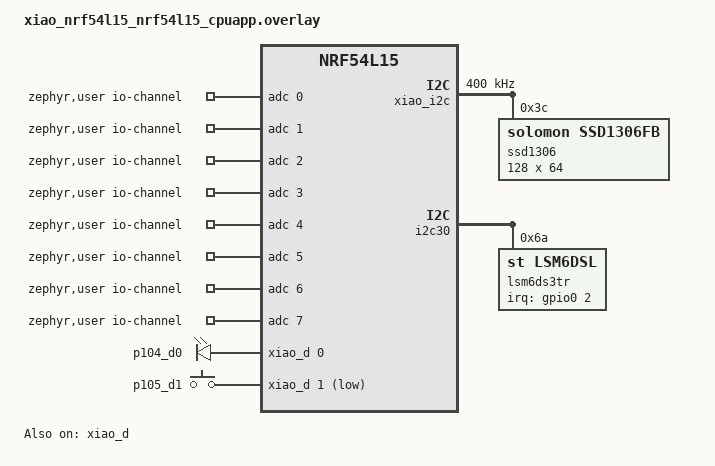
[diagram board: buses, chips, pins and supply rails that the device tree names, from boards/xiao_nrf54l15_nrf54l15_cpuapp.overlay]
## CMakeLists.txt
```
# SPDX-License-Identifier: Apache-2.0

cmake_minimum_required(VERSION 3.13.1)
find_package(Zephyr REQUIRED HINTS $ENV{ZEPHYR_BASE})
project(attitude_monitor)

target_sources(app
  PRIVATE
    src/main.cpp
)
```

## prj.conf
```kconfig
CONFIG_I2C=y
CONFIG_GPIO=y
CONFIG_ADC=y
CONFIG_ADC_ASYNC=y
CONFIG_SENSOR=y
CONFIG_LSM6DSL=y
CONFIG_NEWLIB_LIBC=y
CONFIG_NEWLIB_LIBC_FLOAT_PRINTF=y

CONFIG_MAIN_STACK_SIZE=4096
CONFIG_HEAP_MEM_POOL_SIZE=16384

# Display Configuration
CONFIG_DISPLAY=y

# LVGL Configuration
CONFIG_LVGL=y
CONFIG_LV_Z_MEM_POOL_SIZE=16384
CONFIG_LV_Z_VDB_SIZE=64

# CMSIS-DSP for quaternion math and sensor fusion
CONFIG_CMSIS_DSP=y
CONFIG_CMSIS_DSP_QUATERNIONMATH=y

# Logging and Console
CONFIG_LOG=y
CONFIG_SERIAL=y
CONFIG_CONSOLE=y
CONFIG_UART_CONSOLE=y
CONFIG_LOG_MODE_IMMEDIATE=y
CONFIG_LOG_DEFAULT_LEVEL=3
```

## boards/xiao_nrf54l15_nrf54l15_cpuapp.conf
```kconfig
CONFIG_PM_DEVICE=y
CONFIG_HW_STACK_PROTECTION=y
CONFIG_NRFX_GPIOTE_NUM_OF_EVT_HANDLERS=1
CONFIG_NRFX_POWER=y
CONFIG_ARM_MPU=y
CONFIG_REGULATOR_FIXED_INIT_PRIORITY=45

CONFIG_I2C=y
CONFIG_GPIO=y
CONFIG_ADC=y
CONFIG_ADC_ASYNC=y
CONFIG_SENSOR=y
CONFIG_NEWLIB_LIBC=y
CONFIG_NEWLIB_LIBC_FLOAT_PRINTF=y

# Logging configuration
CONFIG_LOG=y
CONFIG_LOG_MODE_IMMEDIATE=y

# I2C debugging (optional but helpful)
CONFIG_I2C_LOG_LEVEL_DBG=y
```

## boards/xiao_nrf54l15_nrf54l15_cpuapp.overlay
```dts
/ {
    zephyr,user {
		io-channels = <&adc 0>, <&adc 1>, <&adc 2>, <&adc 3>,
			<&adc 4>, <&adc 5>, <&adc 6>, <&adc 7>;
	};

    o_ports {
		compatible = "gpio-leds";

		p104_d0: p104_d0 {
			gpios = <&xiao_d 0 GPIO_ACTIVE_HIGH>;
		};
	};

	i_port {
		compatible = "gpio-keys";

		p105_d1: p105_d1 {
			gpios = <&xiao_d 1 (GPIO_PULL_UP | GPIO_ACTIVE_LOW)>;
			zephyr,code = <INPUT_KEY_ENTER>;
		};
	};

    aliases {
		p104d0 = &p104_d0;
		p105d1 = &p105_d1;
    };

	chosen {
		zephyr,display = &ssd1306;
	};
};

&xiao_i2c {
    clock-frequency = <400000>;
    status = "okay";
    zephyr,concat-buf-size = <1024>;
    zephyr,flash-buf-max-size = <1024>;

	ssd1306: ssd1306@3c {
		compatible = "solomon,ssd1306fb";
		reg = <0x3c>;
		width = <128>;
		height = <64>;
		segment-offset = <0>;
		page-offset = <0>;
		display-offset = <0>;
		multiplex-ratio = <63>;
		segment-remap;
		com-invdir;
		prechargep = <0x22>;
	};
};

&i2c30 {
	lsm6ds3tr: lsm6dsl@6a {
		compatible = "st,lsm6dsl";
		reg = <0x6a>;
		irq-gpios = <&gpio0 2 GPIO_ACTIVE_HIGH>;
		status = "okay";
	};
};

&xiao_d {
	status = "okay";
};

/ {
	aliases {
		accel0 = &lsm6ds3tr;
	};
};
```

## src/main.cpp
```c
#include <stddef.h>
#include <stdint.h>
#include <inttypes.h>
#include <stdio.h>
#include <string.h>

#include <zephyr/kernel.h>
#include <zephyr/device.h>
#include <zephyr/drivers/sensor.h>
#include <zephyr/drivers/regulator.h>
#include <zephyr/drivers/adc.h>
#include <zephyr/drivers/gpio.h>
#include <zephyr/drivers/display.h>
#include <zephyr/devicetree.h>
#include <nrfx_power.h>

#include <lvgl.h>

#include "madgwick_cmsis.h"   // CMSIS-DSP based Madgwick filter

#include <zephyr/logging/log.h>

LOG_MODULE_REGISTER(main_app, CONFIG_LOG_DEFAULT_LEVEL);

// *****************************************************************************************************
// Ports structures
// *****************************************************************************************************
static const struct gpio_dt_spec led_builtin = GPIO_DT_SPEC_GET(DT_ALIAS(led0), gpios);
static const struct gpio_dt_spec usrbtn = GPIO_DT_SPEC_GET(DT_ALIAS(sw0), gpios);
static const struct gpio_dt_spec test0 = GPIO_DT_SPEC_GET(DT_ALIAS(p104d0), gpios);
static const struct gpio_dt_spec selsw = GPIO_DT_SPEC_GET(DT_ALIAS(p105d1), gpios);

// ****************************************************************************************************
// ADC definition and structures
// ****************************************************************************************************
#define DT_SPEC_AND_COMMA(node_id, prop, idx) ADC_DT_SPEC_GET_BY_IDX(node_id, idx),

// Data of ADC io-channels specified in devicetree.
static const struct adc_dt_spec adc_channels[] = {
	DT_FOREACH_PROP_ELEM(DT_PATH(zephyr_user), io_channels, DT_SPEC_AND_COMMA)};

static const struct device *const vbat_reg = DEVICE_DT_GET(DT_NODELABEL(vbat_pwr));

// ***************************************************************************************************
// IMU LSM6DSO sensor device
// ****************************************************************************************************
const struct device *const imu_dev = DEVICE_DT_GET(DT_ALIAS(accel0));

// *************************************************************************************************
// LVGL Display Objects
// *************************************************************************************************
static lv_obj_t *label_line1;
static lv_obj_t *label_line2;
static lv_obj_t *label_line3;
static lv_obj_t *label_line4;


// ***************************************************************************************
// ************************************** Main function **********************************
// ***************************************************************************************
int main(void)
{
    int ret;
	int err;

    // ------------------------------------------------------------------------------
    //                                      GPIO setup
    // ------------------------------------------------------------------------------
    if(!gpio_is_ready_dt(&led_builtin) || !gpio_is_ready_dt(&usrbtn)
                                       || !gpio_is_ready_dt(&test0)
                                       || !gpio_is_ready_dt(&selsw)) {
        LOG_ERR("Some Ports are not ready!\n");
        return 0;
    }

    err = gpio_pin_configure_dt(&led_builtin, GPIO_OUTPUT_ACTIVE);
	if (err < 0) {
        LOG_ERR("Could not setup led_builtin (%d)\n", err);
		return err;
	}
    err = gpio_pin_configure_dt(&usrbtn, GPIO_INPUT);
    if (err < 0) {
        LOG_ERR("Could not setup usrbtn (%d)\n", err);
		return err;
    }
    err = gpio_pin_configure_dt(&test0, GPIO_OUTPUT_ACTIVE);
	if (err < 0) {
        LOG_ERR("Could not setup test0 (%d)\n", err);
		return err;
	}
    err = gpio_pin_configure_dt(&selsw, GPIO_INPUT);
    if (err < 0) {
        LOG_ERR("Could not setup selsw (%d)\n", err);
		return err;
    }
    
    LOG_INF("Ports initialized successfully\n");

    // -------------------------------------------------------------------------------
    //                                   Vbat read adc setup
    // ------------------------------------------------------------------------------
	uint16_t buf;
	int32_t val_mv;
	struct adc_sequence sequence = {
		.buffer = &buf,
		.buffer_size = sizeof(buf),
	};

//	printk("vbat enable\n");
	regulator_enable(vbat_reg);	// P1.15/VBAT_EN = HIGH
	k_msleep(100);
    LOG_INF("Vbat Read enable\n");

	// Configure channels individually prior to sampling.
	if (!adc_is_ready_dt(&adc_channels[7]))
	{
		LOG_ERR("ADC controller device %s not ready\n", adc_channels[7].dev->name);
		return 0;
	}

	err = adc_channel_setup_dt(&adc_channels[7]);
	if (err < 0)
	{
		LOG_ERR("Could not setup channel #7 (%d)\n", err);
		return 0;
	}

	(void)adc_sequence_init_dt(&adc_channels[7], &sequence);

    // ------------------------------------------------------------------------------
    //                        set Madgwick filter sampling rate
    // -------------------------------------------------------------------------------
    MadgwickFilter filter;
    filter.begin(12.5);
    LOG_INF("Madgwick filter sampling rate : 12.5Hz\n");

    // -----------------------------------------------------------------------------
    //                           IMU LSM6DSO setup
    // -------------------------------------------------------------------------------
    if (!device_is_ready(imu_dev)) {
        LOG_ERR("IMU device not ready\n");
        return 0;
    }
    LOG_INF("IMU device ready\n");

    // Set accelerometer range to ±4g (to match original config)
    struct sensor_value accel_range;
    sensor_g_to_ms2(4, &accel_range);  // 4g range

    err = sensor_attr_set(imu_dev, SENSOR_CHAN_ACCEL_XYZ,
                SENSOR_ATTR_FULL_SCALE, &accel_range);
    if (err < 0 && err != -ENOTSUP && err != -ENOSYS) {
        LOG_ERR("Cannot set accelerometer range: %d\n", err);
        return 0;
    }

    // Set gyroscope range to ±2000dps (to match original config)
    struct sensor_value gyro_range;
    sensor_degrees_to_rad(2000, &gyro_range);  // 2000 dps range

    err = sensor_attr_set(imu_dev, SENSOR_CHAN_GYRO_XYZ,
                SENSOR_ATTR_FULL_SCALE, &gyro_range);
    if (err < 0 && err != -ENOTSUP && err != -ENOSYS) {
        LOG_ERR("Cannot set gyroscope range: %d\n", err);
        return 0;
    }

    // Set accelerometer sampling frequency to 12.5 Hz
    struct sensor_value odr_attr;
    odr_attr.val1 = 12;
    odr_attr.val2 = 500000;  // 12.5 Hz

    err = sensor_attr_set(imu_dev, SENSOR_CHAN_ACCEL_XYZ,
                SENSOR_ATTR_SAMPLING_FREQUENCY, &odr_attr);
    if (err < 0 && err != -ENOTSUP && err != -ENOSYS) {
        LOG_ERR("Cannot set sampling frequency for accelerometer: %d\n", err);
        return 0;
    }

    err = sensor_attr_set(imu_dev, SENSOR_CHAN_GYRO_XYZ,
                SENSOR_ATTR_SAMPLING_FREQUENCY, &odr_attr);
    if (err < 0 && err != -ENOTSUP && err != -ENOSYS) {
        LOG_ERR("Cannot set sampling frequency for gyro: %d\n", err);
        return 0;
    }

    LOG_INF("LSM6DSL initialized: \u00b14g, \u00b12000dps, 12.5 Hz\n");

    // --------------------------------------------------------------------------------------
    //                           LVGL Display SSD1306 setup
    // --------------------------------------------------------------------------------------
    const struct device *display_dev = DEVICE_DT_GET(DT_CHOSEN(zephyr_display));
    if (!device_is_ready(display_dev)) {
        LOG_ERR("Display device not ready\n");
        return -1;
    }
    LOG_INF("Display device ready\n");

    // Get the active screen (don't create a new one)
    lv_obj_t *screen = lv_screen_active();

    // Create labels for 4 lines of text (matching the original layout)
    label_line1 = lv_label_create(screen);
    lv_obj_align(label_line1, LV_ALIGN_TOP_LEFT, 0, 0);

    label_line2 = lv_label_create(screen);
    lv_obj_align(label_line2, LV_ALIGN_TOP_LEFT, 0, 16);

    label_line3 = lv_label_create(screen);
    lv_obj_align(label_line3, LV_ALIGN_TOP_LEFT, 0, 32);

    label_line4 = lv_label_create(screen);
    lv_obj_align(label_line4, LV_ALIGN_TOP_LEFT, 0, 48);

    // Display title screen
    lv_label_set_text(label_line1, "  Attitude");
    lv_label_set_text(label_line2, "    Monitor");
    lv_label_set_text(label_line3, "");
    lv_label_set_text(label_line4, "XIAO nRF54L15");

    lv_task_handler();
    display_blanking_off(display_dev);

    LOG_INF("Display initialized\n");
    k_msleep(3000);


// --------------------------------------------------------------------------------
// loop
// --------------------------------------------------------------------------------------
    uint32_t loop_count = 0;
    while (1) {
        ret = gpio_pin_set_dt(&test0, true);             // test-pin HIGH
        ret = gpio_pin_set_dt(&led_builtin, false);     // LED ON
        uint32_t timestamp = (uint32_t)k_uptime_get();

        // Vbat read
		err = adc_read_dt(&adc_channels[7], &sequence);
		if (err < 0) {
			LOG_ERR("Could not read (%d)\n", err);
			return 0;
		}

		if (adc_channels[7].channel_cfg.differential) {
			val_mv = (int32_t)((int16_t)buf);
		} else {
			val_mv = (int32_t)buf;
		}

		// conversion to mV may not be supported, skip if not
		err = adc_raw_to_millivolts_dt(&adc_channels[7], &val_mv);
		if (err < 0) {
			LOG_ERR(" value in mV not available\n");
		} else {
			LOG_INF("bat vol = %" PRId32 " mV\n", val_mv * 2);
		}

        // acc and gyro read using sensor API
        struct sensor_value accel[3], gyro[3];
        float fax, fay, faz, fgx, fgy, fgz;

        ret = gpio_pin_set_dt(&test0, false);

        // Fetch new sensor data
        ret = sensor_sample_fetch(imu_dev);
        if (ret < 0) {
            LOG_ERR("sensor_sample_fetch() failed: %d\n", ret);
            return ret;
        }

        ret = gpio_pin_set_dt(&test0, true);

        // Get accelerometer data
        ret = sensor_channel_get(imu_dev, SENSOR_CHAN_ACCEL_XYZ, accel);
        if (ret < 0) {
            LOG_ERR("Failed to get accel: %d\n", ret);
            return ret;
        }

        // Get gyroscope data
        ret = sensor_channel_get(imu_dev, SENSOR_CHAN_GYRO_XYZ, gyro);
        if (ret < 0) {
            LOG_ERR("Failed to get gyro: %d\n", ret);
            return ret;
        }

        // Convert sensor_value to float
        fax = sensor_value_to_float(&accel[0]);
        fay = sensor_value_to_float(&accel[1]);
        faz = sensor_value_to_float(&accel[2]);
        fgx = sensor_value_to_float(&gyro[0]);
        fgy = sensor_value_to_float(&gyro[1]);
        fgz = sensor_value_to_float(&gyro[2]);

        // Convert accelerometer from m/s² to g-units (1g = 9.80665 m/s²)
        fax /= 9.80665f;
        fay /= 9.80665f;
        faz /= 9.80665f;

        // Convert gyro from rad/s to deg/s for Madgwick filter
        // (Madgwick expects deg/s, sensor API returns rad/s)
        fgx *= 57.2958f;  // 180/π
        fgy *= 57.2958f;
        fgz *= 57.2958f;

        LOG_INF("accel float: X:%2.2f Y:%2.2f Z:%2.2f (g)\n", fax, fay, faz);
        LOG_INF("gyro float: X:%2.2f Y:%2.2f Z:%2.2f (deg/s)\n", fgx, fgy, fgz);

        filter.updateIMU(fgx, fgy, fgz, fax, fay, faz);
        float roll = filter.getRoll();
        float pitch = filter.getPitch();
        float yaw = filter.getYaw();
        LOG_INF("%3.2f, %3.2f, %3.2f, %3.2f\n", roll, pitch, yaw, val_mv*2/1000.0f);

        // Read usrbtn or selsw state
        int usrbtn_state = gpio_pin_get_dt(&usrbtn);
        int selsw_state = gpio_pin_get_dt(&selsw);

        // Display data
        char buf1[32], buf2[32], buf3[32], buf4[32];
        if (selsw_state == 1 || usrbtn_state == 1) { // Button pressed - show raw data
            snprintf(buf1, sizeof(buf1), "%7.2f%7.2f", fax, fgx);
            snprintf(buf2, sizeof(buf2), "%7.2f%7.2f", fay, fgy);
            snprintf(buf3, sizeof(buf3), "%7.2f%7.2f", faz, fgz);
            snprintf(buf4, sizeof(buf4), "Bat %4.2f %5d", val_mv/500.0f, timestamp/1000);

            lv_label_set_text(label_line1, buf1);
            lv_label_set_text(label_line2, buf2);
            lv_label_set_text(label_line3, buf3);
            lv_label_set_text(label_line4, buf4);
        } else { // Show attitude data
            snprintf(buf1, sizeof(buf1), "Roll   %7.2f", roll);
            snprintf(buf2, sizeof(buf2), "Pitch  %7.2f", pitch);
            snprintf(buf3, sizeof(buf3), "Yaw    %7.2f", yaw);
            snprintf(buf4, sizeof(buf4), "Bat %4.2f %5d", val_mv/500.0f, timestamp/1000);

            lv_label_set_text(label_line1, buf1);
            lv_label_set_text(label_line2, buf2);
            lv_label_set_text(label_line3, buf3);
            lv_label_set_text(label_line4, buf4);
        }

        ret = gpio_pin_set_dt(&led_builtin, true);  // LED OFF
        ret = gpio_pin_set_dt(&test0, false);        // test pin LOW

        // Update LVGL display
        lv_task_handler();

        // Log every 10th iteration to avoid flooding
        loop_count++;
        if (loop_count % 10 == 0) {
            LOG_INF("Loop %d: R:%.1f P:%.1f Y:%.1f Bat:%.2fV",
                    loop_count, roll, pitch, yaw, val_mv*2/1000.0f);
        }

        // Sleep for remaining time to maintain ~80ms loop time
        uint32_t elapsed = (uint32_t)k_uptime_get() - timestamp;
        if (elapsed < 80) {
            k_msleep(80 - elapsed);
        }
    }
    return 0;
}
```

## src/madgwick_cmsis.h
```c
/*
 * Madgwick AHRS Filter Implementation using CMSIS-DSP
 *
 * Copyright (C) 2025 - Derived work based on MadgwickAHRS
 * Original work: https://github.com/arduino-libraries/MadgwickAHRS
 * Algorithm: https://x-io.co.uk/open-source-imu-and-ahrs-algorithms/
 *
 * This library is free software; you can redistribute it and/or
 * modify it under the terms of the GNU Lesser General Public
 * License as published by the Free Software Foundation; either
 * version 2.1 of the License, or (at your option) any later version.
 *
 * This library is distributed in the hope that it will be useful,
 * but WITHOUT ANY WARRANTY; without even the implied warranty of
 * MERCHANTABILITY or FITNESS FOR A PARTICULAR PURPOSE.  See the GNU
 * Lesser General Public License for more details.
 *
 * You should have received a copy of the GNU Lesser General Public
 * License along with this library; if not, write to the Free Software
 * Foundation, Inc., 51 Franklin Street, Fifth Floor, Boston, MA  02110-1301  USA
 *
 * This implementation replaces the external Madgwick library with native
 * Zephyr CMSIS-DSP functions for improved integration with embedded systems.
 */

#ifndef MADGWICK_CMSIS_H
#define MADGWICK_CMSIS_H

#include <arm_math.h>
#include <math.h>

#ifndef M_PI
#define M_PI 3.14159265358979323846f
#endif

class MadgwickFilter {
private:
    float q0, q1, q2, q3;  // Quaternion elements (w, x, y, z)
    float beta;            // Filter gain
    float sample_freq;     // Sample frequency in Hz

    // Fast inverse square root
    float invSqrt(float x) {
        float halfx = 0.5f * x;
        float y = x;
        long i = *(long*)&y;
        i = 0x5f3759df - (i >> 1);
        y = *(float*)&i;
        y = y * (1.5f - (halfx * y * y));
        return y;
    }

public:
    MadgwickFilter() : q0(1.0f), q1(0.0f), q2(0.0f), q3(0.0f), beta(0.1f), sample_freq(100.0f) {}

    void begin(float freq) {
        sample_freq = freq;
        beta = 0.1f;  // Default gain
        q0 = 1.0f;
        q1 = 0.0f;
        q2 = 0.0f;
        q3 = 0.0f;
    }

    void setBeta(float b) {
        beta = b;
    }

    // IMU update (accelerometer + gyroscope only, no magnetometer)
    void updateIMU(float gx, float gy, float gz, float ax, float ay, float az) {
        float recipNorm;
        float s0, s1, s2, s3;
        float qDot1, qDot2, qDot3, qDot4;
        float _2q0, _2q1, _2q2, _2q3, _4q0, _4q1, _4q2, _8q1, _8q2, q0q0, q1q1, q2q2, q3q3;

        // Convert gyroscope degrees/sec to radians/sec
        gx *= 0.0174533f;
        gy *= 0.0174533f;
        gz *= 0.0174533f;

        // Rate of change of quaternion from gyroscope
        qDot1 = 0.5f * (-q1 * gx - q2 * gy - q3 * gz);
        qDot2 = 0.5f * (q0 * gx + q2 * gz - q3 * gy);
        qDot3 = 0.5f * (q0 * gy - q1 * gz + q3 * gx);
        qDot4 = 0.5f * (q0 * gz + q1 * gy - q2 * gx);

        // Compute feedback only if accelerometer measurement valid (avoids NaN in accelerometer normalisation)
        if (!((ax == 0.0f) && (ay == 0.0f) && (az == 0.0f))) {
            // Normalize accelerometer measurement
            recipNorm = invSqrt(ax * ax + ay * ay + az * az);
            ax *= recipNorm;
            ay *= recipNorm;
            az *= recipNorm;

            // Auxiliary variables to avoid repeated arithmetic
            _2q0 = 2.0f * q0;
            _2q1 = 2.0f * q1;
            _2q2 = 2.0f * q2;
            _2q3 = 2.0f * q3;
            _4q0 = 4.0f * q0;
            _4q1 = 4.0f * q1;
            _4q2 = 4.0f * q2;
            _8q1 = 8.0f * q1;
            _8q2 = 8.0f * q2;
            q0q0 = q0 * q0;
            q1q1 = q1 * q1;
            q2q2 = q2 * q2;
            q3q3 = q3 * q3;

            // Gradient descent algorithm corrective step
            s0 = _4q0 * q2q2 + _2q2 * ax + _4q0 * q1q1 - _2q1 * ay;
            s1 = _4q1 * q3q3 - _2q3 * ax + 4.0f * q0q0 * q1 - _2q0 * ay - _4q1 + _8q1 * q1q1 + _8q1 * q2q2 + _4q1 * az;
            s2 = 4.0f * q0q0 * q2 + _2q0 * ax + _4q2 * q3q3 - _2q3 * ay - _4q2 + _8q2 * q1q1 + _8q2 * q2q2 + _4q2 * az;
            s3 = 4.0f * q1q1 * q3 - _2q1 * ax + 4.0f * q2q2 * q3 - _2q2 * ay;

            recipNorm = invSqrt(s0 * s0 + s1 * s1 + s2 * s2 + s3 * s3);
            s0 *= recipNorm;
            s1 *= recipNorm;
            s2 *= recipNorm;
            s3 *= recipNorm;

            // Apply feedback step
            qDot1 -= beta * s0;
            qDot2 -= beta * s1;
            qDot3 -= beta * s2;
            qDot4 -= beta * s3;
        }

        // Integrate rate of change of quaternion to yield quaternion
        q0 += qDot1 * (1.0f / sample_freq);
        q1 += qDot2 * (1.0f / sample_freq);
        q2 += qDot3 * (1.0f / sample_freq);
        q3 += qDot4 * (1.0f / sample_freq);

        // Normalize quaternion using CMSIS-DSP
        float quat[4] = {q0, q1, q2, q3};
        arm_quaternion_normalize_f32(quat, quat, 1);
        q0 = quat[0];
        q1 = quat[1];
        q2 = quat[2];
        q3 = quat[3];
    }

    // Get roll in degrees
    float getRoll() {
        return getRollRadians() * 57.29578f;  // Convert to degrees
    }

    // Get pitch in degrees
    float getPitch() {
        return getPitchRadians() * 57.29578f;
    }

    // Get yaw in degrees
    float getYaw() {
        return getYawRadians() * 57.29578f;
    }

    // Get roll in radians
    float getRollRadians() {
        return atan2f(2.0f * (q0 * q1 + q2 * q3), 1.0f - 2.0f * (q1 * q1 + q2 * q2));
    }

    // Get pitch in radians
    float getPitchRadians() {
        float sinp = 2.0f * (q0 * q2 - q3 * q1);
        if (fabsf(sinp) >= 1.0f)
            return copysignf(M_PI / 2.0f, sinp); // Use 90 degrees if out of range
        else
            return asinf(sinp);
    }

    // Get yaw in radians
    float getYawRadians() {
        return atan2f(2.0f * (q0 * q3 + q1 * q2), 1.0f - 2.0f * (q2 * q2 + q3 * q3));
    }

    // Get quaternion components
    void getQuaternion(float *w, float *x, float *y, float *z) {
        *w = q0;
        *x = q1;
        *y = q2;
        *z = q3;
    }
};

#endif // MADGWICK_CMSIS_H
```
